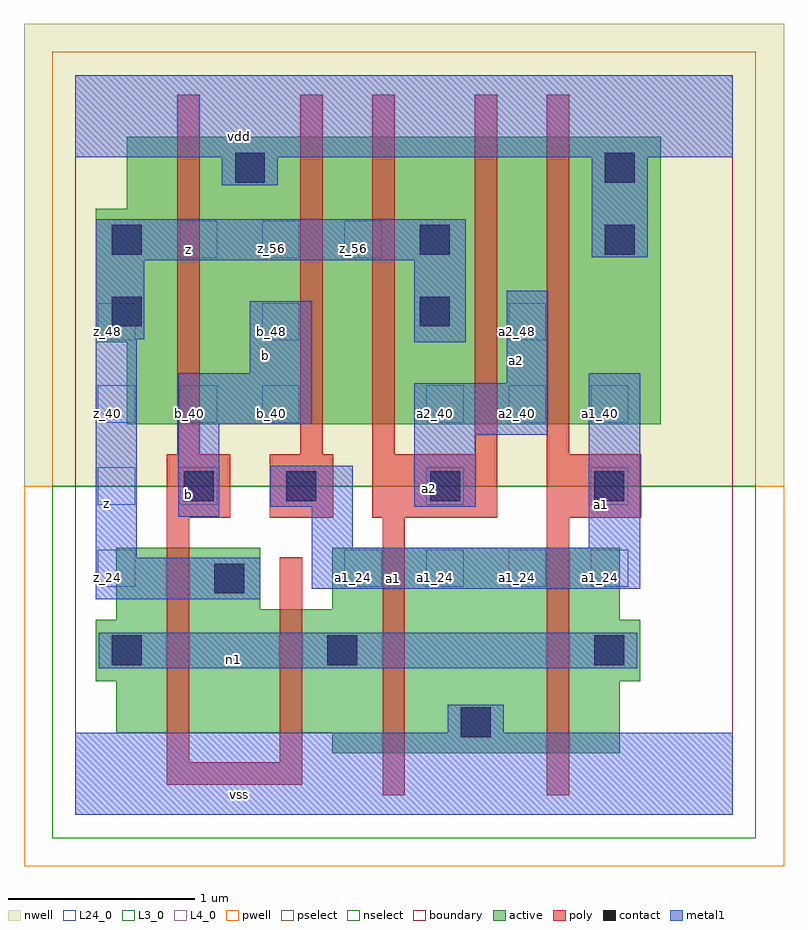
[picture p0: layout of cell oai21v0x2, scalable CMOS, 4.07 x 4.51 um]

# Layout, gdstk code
import gdstk
lib = gdstk.Library(unit=1e-6, precision=2.5e-09)
def R(c, l, rs):  # rectangles x0, y0, x1, y1
    for r in rs: c.add(gdstk.rectangle(r[:2], r[2:], *l))
def A(c, l, x, y, w, h, nx, ny, dx, dy):  # array of equal rectangles
    R(c, l, [(x+i*dx, y+j*dy, x+i*dx+w, y+j*dy+h) for i in range(nx) for j in range(ny)])
L3_0 = (3, 0)
L4_0 = (4, 0)
L24_0 = (24, 0)
contact = (25, 0)
pwell = (41, 0)
nwell = (42, 0)
active = (43, 0)
pselect = (44, 0)
nselect = (45, 0)
poly = (46, 0)
metal1 = (49, 0)
boundary = (63, 0)

oai21v0x2 = lib.new_cell('oai21v0x2')
R(oai21v0x2, L3_0, [(1.375,0.33,2.915,0.44), (0.22,0.44,2.915,0.715), (0.11,0.715,3.025,1.045), (0.22,1.045,2.915,1.1), (0.22,1.1,0.99,1.43), (1.375,1.1,2.915,1.43)])
R(oai21v0x2, L4_0, [(0.275,2.09,3.135,2.53), (0.11,2.53,3.135,3.245), (0.275,3.245,3.135,3.63)])
A(oai21v0x2, L24_0, 1.44, 1.22, 0.2, 0.2, 4, 1, 0.44, 0)
A(oai21v0x2, L24_0, 0.12, 2.1, 0.2, 0.2, 3, 1, 0.44, 0)
A(oai21v0x2, L24_0, 1.88, 2.1, 0.2, 0.2, 3, 1, 0.44, 0)
A(oai21v0x2, L24_0, 0.56, 2.98, 0.2, 0.2, 3, 1, 0.44, 0)
R(oai21v0x2, L24_0, [(0.12,1.22,0.32,1.42), (0.12,1.66,0.32,1.86), (0.56,1.66,0.76,1.86), (1.88,1.66,2.08,1.86), (2.76,1.66,2.96,1.86), (0.12,2.54,0.32,2.74), (1,2.54,1.2,2.74), (2.32,2.54,2.52,2.74)])
R(oai21v0x2, contact, [(2.065,0.415,2.225,0.575), (0.195,0.8,0.355,0.96), (1.35,0.8,1.51,0.96), (2.78,0.8,2.94,0.96), (0.745,1.185,0.905,1.345), (0.58,1.68,0.74,1.84), (1.13,1.68,1.29,1.84), (1.9,1.68,2.06,1.84), (2.78,1.68,2.94,1.84), (0.195,2.615,0.355,2.775), (1.845,2.615,2.005,2.775), (0.195,3,0.355,3.16), (1.845,3,2.005,3.16), (2.835,3,2.995,3.16), (0.855,3.385,1.015,3.545), (2.835,3.385,2.995,3.545)])
R(oai21v0x2, pwell, [(-0.275,-0.275,3.795,1.76)])
R(oai21v0x2, nwell, [(-0.275,1.76,3.795,4.235)])
R(oai21v0x2, active, [(1.375,0.33,2.915,0.44), (0.22,0.44,2.915,0.715), (0.11,0.715,3.025,1.045), (0.22,1.045,2.915,1.1), (0.22,1.1,0.99,1.43), (1.375,1.1,2.915,1.43), (0.275,2.09,3.135,2.53), (0.11,2.53,3.135,3.245), (0.275,3.245,3.135,3.63)])
R(oai21v0x2, pselect, [(-0.125,1.76,3.645,4.085)])
R(oai21v0x2, nselect, [(-0.125,-0.125,3.645,1.76)])
R(oai21v0x2, poly, [(1.645,0.105,1.765,1.59), (2.525,0.105,2.645,1.59), (0.49,0.16,1.215,0.28), (0.49,0.28,0.61,1.59), (1.095,0.28,1.215,1.38), (0.49,1.59,0.83,1.93), (1.04,1.59,1.38,1.93), (1.59,1.59,2.26,1.93), (2.525,1.59,3.03,1.93), (0.545,1.93,0.665,3.855), (1.205,1.93,1.325,3.855), (1.59,1.93,1.71,3.855), (2.14,1.93,2.26,3.855), (2.525,1.93,2.645,3.855)])
R(oai21v0x2, metal1, [(0,0,3.52,0.44), (1.995,0.44,2.295,0.59), (0.125,0.785,3.01,0.975), (0.11,1.155,0.99,1.375), (1.265,1.21,3.025,1.43), (0.11,1.375,0.33,2.545), (1.265,1.43,1.485,1.65), (2.75,1.43,3.025,2.365), (0.55,1.595,0.77,2.09), (1.045,1.65,1.485,1.87), (1.815,1.65,2.145,2.035), (1.815,2.035,2.53,2.31), (0.55,2.09,1.265,2.365), (2.31,2.31,2.53,2.805), (0.935,2.365,1.265,2.75), (1.815,2.53,2.09,2.97), (0.11,2.545,0.37,2.97), (0.11,2.97,2.09,3.19), (2.765,2.985,3.065,3.52), (0.785,3.37,1.085,3.52), (0,3.52,3.52,3.96)])
R(oai21v0x2, boundary, [(0,0,3.52,3.96)])
oai21v0x2.add(gdstk.Label('vss', (0.88,0.11), layer=49, texttype=0))
oai21v0x2.add(gdstk.Label('n1', (0.845,0.8325), layer=49, texttype=0))
oai21v0x2.add(gdstk.Label('a1', (1.705,1.265), layer=49, texttype=0))
oai21v0x2.add(gdstk.Label('a1', (2.8175,1.6625), layer=49, texttype=0))
oai21v0x2.add(gdstk.Label('a2', (1.8975,1.745), layer=49, texttype=0))
oai21v0x2.add(gdstk.Label('b', (0.605,1.7175), layer=49, texttype=0))
oai21v0x2.add(gdstk.Label('a2', (2.365,2.4325), layer=49, texttype=0))
oai21v0x2.add(gdstk.Label('b', (1.0175,2.46), layer=49, texttype=0))
oai21v0x2.add(gdstk.Label('z', (0.165,1.6675), layer=49, texttype=0))
oai21v0x2.add(gdstk.Label('z', (0.605,3.025), layer=49, texttype=0))
oai21v0x2.add(gdstk.Label('vdd', (0.88,3.63), layer=49, texttype=0))
oai21v0x2.add(gdstk.Label('b_32', (0.61,1.71), layer=24, texttype=0))
oai21v0x2.add(gdstk.Label('b_40', (0.61,2.15), layer=24, texttype=0))
oai21v0x2.add(gdstk.Label('z_56', (0.61,3.03), layer=24, texttype=0))
oai21v0x2.add(gdstk.Label('b_40', (1.05,2.15), layer=24, texttype=0))
oai21v0x2.add(gdstk.Label('b_48', (1.05,2.59), layer=24, texttype=0))
oai21v0x2.add(gdstk.Label('z_56', (1.05,3.03), layer=24, texttype=0))
oai21v0x2.add(gdstk.Label('a1_24', (1.49,1.27), layer=24, texttype=0))
oai21v0x2.add(gdstk.Label('z_56', (1.49,3.03), layer=24, texttype=0))
oai21v0x2.add(gdstk.Label('a1_24', (1.93,1.27), layer=24, texttype=0))
oai21v0x2.add(gdstk.Label('a2_32', (1.93,1.71), layer=24, texttype=0))
oai21v0x2.add(gdstk.Label('a2_40', (1.93,2.15), layer=24, texttype=0))
oai21v0x2.add(gdstk.Label('z_24', (0.17,1.27), layer=24, texttype=0))
oai21v0x2.add(gdstk.Label('z_32', (0.17,1.71), layer=24, texttype=0))
oai21v0x2.add(gdstk.Label('z_40', (0.17,2.15), layer=24, texttype=0))
oai21v0x2.add(gdstk.Label('z_48', (0.17,2.59), layer=24, texttype=0))
oai21v0x2.add(gdstk.Label('a1_24', (2.37,1.27), layer=24, texttype=0))
oai21v0x2.add(gdstk.Label('a2_40', (2.37,2.15), layer=24, texttype=0))
oai21v0x2.add(gdstk.Label('a2_48', (2.37,2.59), layer=24, texttype=0))
oai21v0x2.add(gdstk.Label('a1_24', (2.81,1.27), layer=24, texttype=0))
oai21v0x2.add(gdstk.Label('a1_32', (2.81,1.71), layer=24, texttype=0))
oai21v0x2.add(gdstk.Label('a1_40', (2.81,2.15), layer=24, texttype=0))

lib.write_gds('oai21v0x2.gds')
